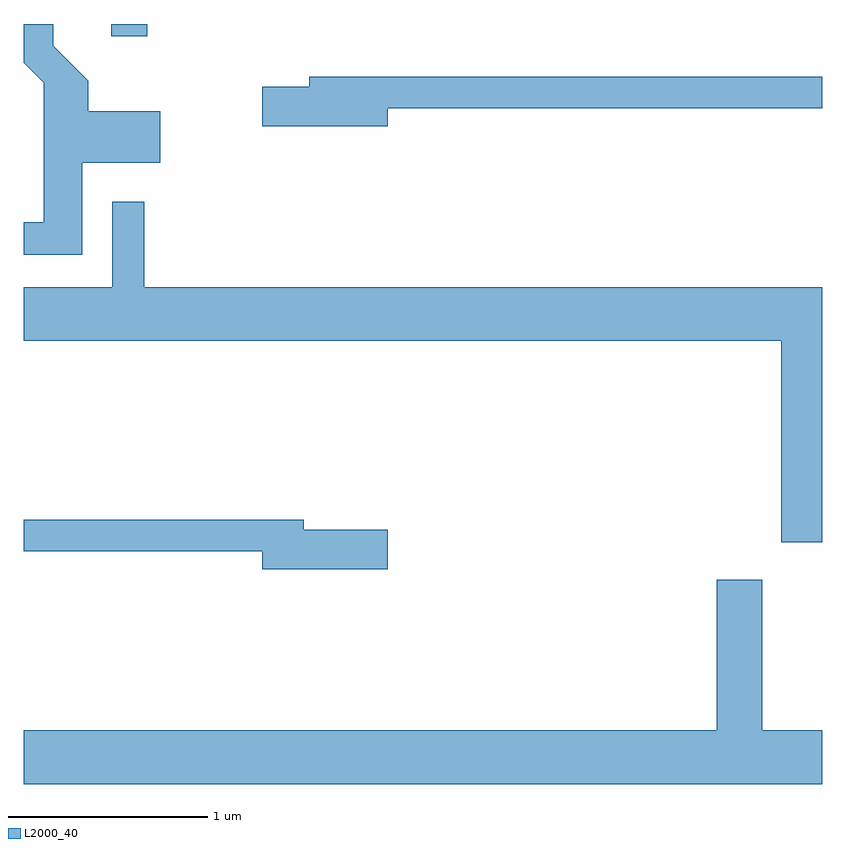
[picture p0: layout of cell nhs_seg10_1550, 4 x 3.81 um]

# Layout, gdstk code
import gdstk
lib = gdstk.Library(unit=1e-6, precision=1e-09)
def R(c, l, rs):  # rectangles x0, y0, x1, y1
    for r in rs: c.add(gdstk.rectangle(r[:2], r[2:], *l))
def P(c, l, *ps):  # polygons
    for p in ps: c.add(gdstk.Polygon(p, *l))
L2000_40 = (2000, 40)

nhs_seg10_1550 = lib.new_cell('nhs_seg10_1550')
R(nhs_seg10_1550, L2000_40, [(230.051,2206.461,230.229,2206.522)])
P(nhs_seg10_1550, L2000_40, [(229.904,2205.826),(230.294,2205.826),(230.294,2206.084),(229.934,2206.084),(229.934,2206.237),(229.759,2206.412),(229.759,2206.522),(229.611,2206.522),(229.611,2206.329),(229.711,2206.229),(229.711,2205.529),(229.611,2205.529),(229.611,2205.366),(229.904,2205.366)],
  [(231.434,2206.101),(233.611,2206.101),(233.611,2206.259),(231.041,2206.259),(231.041,2206.209),(230.806,2206.209),(230.806,2206.011),(231.434,2206.011)],
  [(233.611,2205.204),(230.214,2205.204),(230.214,2205.633),(230.056,2205.633),(230.056,2205.204),(229.611,2205.204),(229.611,2204.936),(233.406,2204.936),(233.406,2203.926),(233.611,2203.926)],
  [(231.434,2203.989),(231.014,2203.989),(231.014,2204.039),(229.611,2204.039),(229.611,2203.881),(230.806,2203.881),(230.806,2203.791),(231.434,2203.791)],
  [(233.611,2202.984),(233.309,2202.984),(233.309,2203.739),(233.081,2203.739),(233.081,2202.984),(229.611,2202.984),(229.611,2202.716),(233.611,2202.716)])

lib.write_gds('nhs_seg10_1550.gds')
